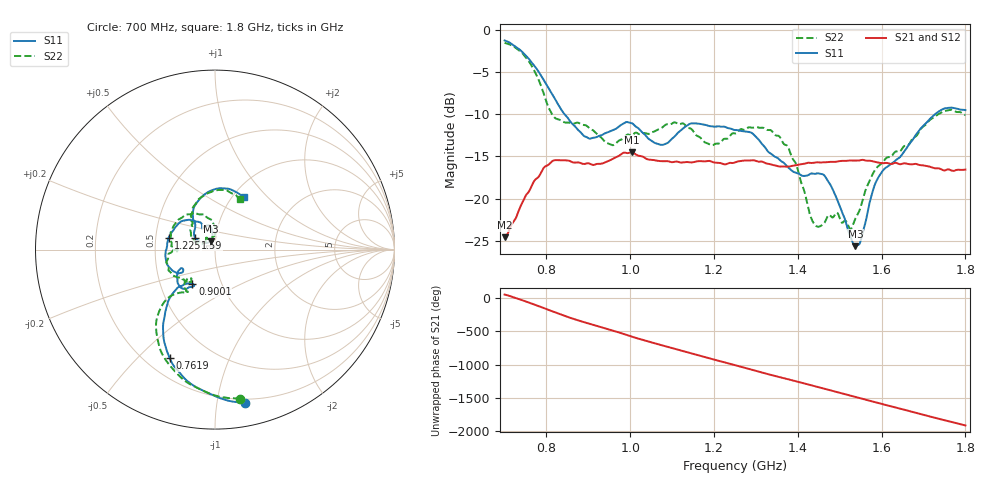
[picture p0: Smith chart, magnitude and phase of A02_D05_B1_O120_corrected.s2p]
! Created with skrf 1.9.0 (http://scikit-rf.org).
# Hz S RI R 50.0
!freq ReS11 ImS11 ReS21 ImS21 ReS12 ImS12 ReS22 ImS22
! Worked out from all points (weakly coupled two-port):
!   1601 points, 700 MHz to 1.8 GHz, reference 50 ohm
!   highest |S21| = -14.51 dB at 1.003 GHz (marker M1); lowest = -24.6 dB at 700 MHz (marker M2)
!   lowest |S11| = -25.7 dB at 1.537 GHz (marker M3), VSWR 1.11, Z = 47.6 + j4.47 ohm
!   |S11| at or under -10 dB: 843.5 MHz to 1.727 GHz (883.9 MHz wide, 68.8 % of centre)
!   |S22| runs from -23.6 to -1.5 dB; largest |S21 - S12| = 0.0036
!   S11 on the Smith chart (normalised r, x): 700 MHz: 0.17, -1.20; 761.9 MHz: 0.30, -0.62; 900.1 MHz: 0.73, -0.29; 1.225 GHz: 0.58, +0.08; 1.59 GHz: 0.79, +0.11; 1.8 GHz: 1.13, +0.74
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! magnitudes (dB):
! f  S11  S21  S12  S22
! 700 MHz  -1.2  -24.6  -24.4  -1.5
! 761.9 MHz  -3.7  -18.8  -18.7  -4.0
! 817.6 MHz  -7.9  -15.5  -15.6  -10.3
! 883.6 MHz  -12.2  -15.8  -15.7  -11.2
! 900.1 MHz  -12.8  -15.8  -15.8  -11.5
! 955.8 MHz  -11.9  -15.4  -15.4  -13.6
! 1.003 GHz  -11.0  -14.5  -14.6  -12.5
! 1.067 GHz  -13.5  -15.5  -15.5  -11.8
! 1.145 GHz  -11.1  -15.7  -15.7  -11.7
! 1.192 GHz  -11.4  -15.6  -15.6  -13.6
! 1.225 GHz  -11.5  -15.9  -15.9  -12.9
! 1.25 GHz  -11.9  -15.7  -15.6  -12.3
! 1.357 GHz  -15.4  -16.2  -16.1  -12.7
! 1.396 GHz  -16.9  -16.0  -16.0  -15.9
! 1.434 GHz  -17.0  -15.8  -15.7  -22.5
! 1.476 GHz  -18.2  -15.6  -15.7  -22.0
! 1.537 GHz  -25.7  -15.5  -15.5  -22.4
! 1.55 GHz  -24.9  -15.4  -15.5  -20.9
! 1.59 GHz  -17.7  -15.7  -15.7  -16.3
! 1.617 GHz  -16.1  -15.8  -15.8  -15.1
! 1.733 GHz  -9.8  -16.4  -16.5  -10.0
! 1.8 GHz  -9.5  -16.6  -16.6  -10.1
